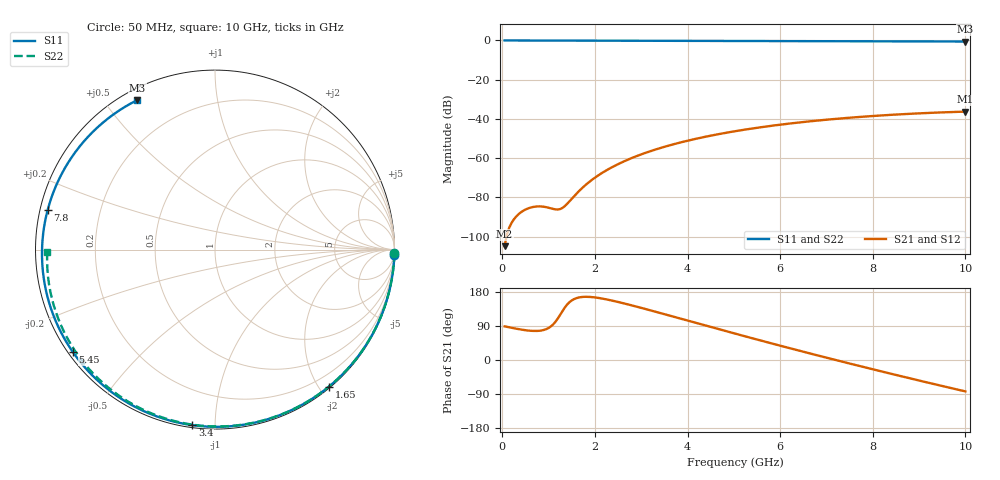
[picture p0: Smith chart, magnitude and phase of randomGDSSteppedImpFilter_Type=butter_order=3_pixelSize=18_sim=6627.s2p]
! freq	dB(S11)	phase(S11)	dB(S12)	phase(S12)
!  dB(S21)	phase(S21)	dB(S22)	phase(S22)
!S-par simulation data
#  GHz  S  DB  R 50
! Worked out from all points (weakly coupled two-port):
!   200 points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, 50 MHz to 10 GHz, reference 50 ohm
!   highest |S21| = -36.25 dB at 10 GHz (marker M1); lowest = -104.8 dB at 50 MHz (marker M2)
!   lowest |S11| = -0.5 dB at 10 GHz (marker M3), VSWR 31.71, Z = 2.16 + j30.3 ohm
!   |S11| at or under -10 dB: nowhere
!   |S22| runs from -0.6 to 0.0 dB; largest |S21 - S12| = 0
!   S11 on the Smith chart (normalised r, x): 50 MHz: 0, -72; 1.65 GHz: 0.02, -2.13; 3.4 GHz: 0.01, -0.88; 5.45 GHz: 0.01, -0.32; 7.8 GHz: 0.02, +0.12; 10 GHz: 0.04, +0.61
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0.05  -0.00 -1.6  -104.79 88.8  -104.79 88.8  -0.00 -1.1
0.4  -0.02 -12.5  -87.56 80.4  -87.56 80.4  -0.01 -8.5
0.75  -0.03 -23.3  -84.56 76.7  -84.56 76.7  -0.02 -15.8
1.1  -0.04 -34.0  -85.83 94.1  -85.83 94.1  -0.03 -23.1
1.5  -0.06 -45.9  -80.65 157.2  -80.65 157.2  -0.04 -31.3
1.55  -0.06 -47.3  -79.35 160.7  -79.35 160.7  -0.04 -32.3
1.65  -0.06 -50.2  -76.87 164.9  -76.87 164.9  -0.04 -34.4
1.75  -0.07 -53.1  -74.62 166.6  -74.62 166.6  -0.05 -36.4
2.05  -0.08 -61.7  -69.08 164.3  -69.08 164.3  -0.05 -42.4
2.45  -0.09 -72.7  -63.59 154.6  -63.59 154.6  -0.06 -50.4
2.9  -0.10 -84.6  -58.92 140.8  -58.92 140.8  -0.08 -59.1
3.4  -0.12 -97.3  -54.89 124.3  -54.89 124.3  -0.09 -68.6
4.15  -0.15 -115.4  -50.26 99.0  -50.26 99.0  -0.11 -82.4
5.05  -0.19 -135.6  -46.14 68.9  -46.14 68.9  -0.15 -98.2
5.45  -0.21 -144.3  -44.66 55.7  -44.66 55.7  -0.17 -105.0
6.1  -0.25 -158.0  -42.62 34.6  -42.62 34.6  -0.20 -115.8
6.7  -0.29 -170.5  -41.05 15.5  -41.05 15.5  -0.24 -125.6
7.25  -0.33 178.0  -39.84 -1.6  -39.84 -1.6  -0.28 -134.4
7.8  -0.37 166.5  -38.82 -18.5  -38.82 -18.5  -0.33 -143.2
8.35  -0.42 154.8  -37.95 -35.0  -37.95 -35.0  -0.38 -152.0
9.15  -0.48 137.2  -36.97 -58.5  -36.97 -58.5  -0.47 -164.9
10  -0.55 117.5  -36.25 -82.9  -36.25 -82.9  -0.59 -179.1
